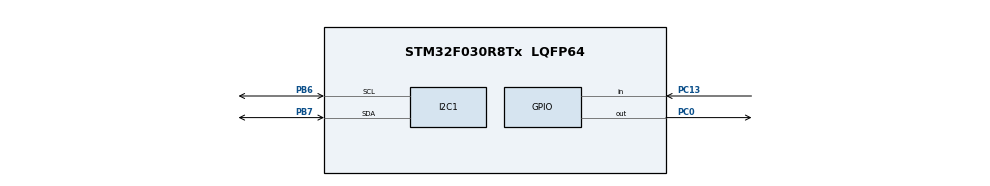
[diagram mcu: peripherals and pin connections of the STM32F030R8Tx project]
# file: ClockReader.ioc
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FREERTOS.Tasks01=defaultTask,24,128,StartDefaultTask,Default,NULL,Dynamic,NULL,NULL
Mcu.Family=STM32F0
Mcu.Name=STM32F030R8Tx
Mcu.Package=LQFP64
NVIC.TIM1_BRK_UP_TRG_COM_IRQn=true\:0\:0\:false\:false\:true\:false\:false\:true
NVIC.TimeBase=TIM1_BRK_UP_TRG_COM_IRQn
NVIC.TimeBaseIP=TIM1
PA13.Mode=Serial_Wire
PA13.Signal=SYS_SWDIO
PA14.Mode=Serial_Wire
PA14.Signal=SYS_SWCLK
PB6.Mode=I2C
PB6.Signal=I2C1_SCL
PB7.Mode=I2C
PB7.Signal=I2C1_SDA
PC0.Signal=GPIO_Output
PC13.Signal=GPIO_Input
ProjectManager.HeapSize=0x200
ProjectManager.StackSize=0x400
ProjectManager.TargetToolchain=STM32CubeIDE
VP_FREERTOS_VS_CMSIS_V2.Mode=CMSIS_V2
VP_SYS_VS_tim1.Mode=TIM1
board=custom

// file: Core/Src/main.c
/* USER CODE BEGIN Header */
/**
  ******************************************************************************
  * @file           : main.c
  * @brief          : Main program body
  ******************************************************************************
  * @attention
  *
  * <h2><center>&copy; Copyright (c) 2021 STMicroelectronics.
  * All rights reserved.</center></h2>
  *
  * This software component is licensed by ST under BSD 3-Clause license,
  * the "License"; You may not use this file except in compliance with the
  * License. You may obtain a copy of the License at:
  *                        opensource.org/licenses/BSD-3-Clause
  *
  ******************************************************************************
  */
/* USER CODE END Header */
#include "main.h"
#include "cmsis_os.h"

/* USER CODE BEGIN Includes */
#include <rtc.h>
#include <fonts.h>
#include <ssd1306.h>
#include "bno055_stm32.h"
/* USER CODE END Includes */

I2C_HandleTypeDef hi2c1;

/* Definitions for defaultTask */
osThreadId_t defaultTaskHandle;
const osThreadAttr_t defaultTask_attributes = {
  .name = "defaultTask",
  .priority = (osPriority_t) osPriorityNormal,
  .stack_size = 128 * 4
};

void SystemClock_Config(void);
static void MX_GPIO_Init(void);
static void MX_I2C1_Init(void);
void StartDefaultTask(void *argument);

/* USER CODE BEGIN 0 */

struct registerData
	{
	  uint8_t registerAddress;
	  uint8_t secondsData;
	  uint8_t *pRegisterAddress;
	};

const uint8_t slaveAddressRTC = 0xDE;

typedef struct registerData registerData;

/* USER CODE END 0 */

int main(void)
{

  /* MCU Configuration--------------------------------------------------------*/

  /* Reset of all peripherals, Initializes the Flash interface and the Systick. */
  HAL_Init();

  /* Configure the system clock */
  SystemClock_Config();

  /* Initialize all configured peripherals */
  MX_GPIO_Init();
  MX_I2C1_Init();
  /* USER CODE BEGIN 2 */

  /*uint8_t startTimer = 0x80;
  uint8_t *pStartTimer;
  pStartTimer = &startTimer;*/

  uint8_t RTCWKDAYReg = 0x03; //Also has the battery control register at bit 3 and PWRFAIL
  uint8_t turnOnExternalBattery = 0x08;//(0x03 will set battery)
  uint8_t *pExtBatt;
  pExtBatt = &turnOnExternalBattery;

  uint8_t secondsData = 0;
  uint8_t secondsReg = 0x00;
  uint8_t *pSeconds;
  pSeconds=&secondsData;

  uint8_t minData = 0x80;
  uint8_t minReg = 0x01;
  uint8_t *pMin;
  pMin=&minData;

  uint8_t hrsData = 0;
  uint8_t hrsReg = 0x02;
  uint8_t *pHrs;
  pHrs=&hrsData;

  uint8_t alarmControlData = 0b00010000;
  uint8_t alarmControlReg = 0x07;
  uint8_t *pAlarmControl;
  pAlarmControl=&alarmControlData;

  uint8_t alarmFlagData = 0b10000000;
  uint8_t alarmFlagReg = 0x0D;
  uint8_t *pAlarmFlag;
  pAlarmFlag=&alarmFlagData;

  uint8_t alarmSecondsData = 0x07;
  uint8_t alarmSecondsReg = 0x0A;
  uint8_t *pAlarmSeconds;
  pAlarmSeconds=&alarmSecondsData;

  uint8_t alarmMinsData = 0;
  uint8_t alarmMinsReg = 0x0B;
  uint8_t *pAlarmMins;
  pAlarmMins=&alarmMinsData;

  uint8_t alarmHrsData = 0;
  uint8_t alarmHrsReg = 0x0C;
  uint8_t *pAlarmHrs;
  pAlarmHrs=&alarmHrsData;

  while(HAL_I2C_Init(&hi2c1)!=HAL_OK)
  {
	if(HAL_I2C_Init(&hi2c1)==HAL_OK) break;
  }

  uint8_t secondsOnes =0;
   uint8_t secondsTens = 0;

   uint8_t minOnes =0;
   uint8_t minTens = 0;

   uint8_t hrsOnes =0;
   uint8_t hrsTens = 0;

  /* USER CODE END 2 */

  /* Init scheduler */
  osKernelInitialize();

  /* Create the thread(s) */
  /* creation of defaultTask */
  defaultTaskHandle = osThreadNew(StartDefaultTask, NULL, &defaultTask_attributes);

  /* Start scheduler */
  osKernelStart();

  /* We should never get here as control is now taken by the scheduler */
  /* Infinite loop */
  /* USER CODE BEGIN WHILE */
  	  HAL_I2C_Mem_Read(&hi2c1,slaveAddressRTC,secondsReg,1,pSeconds,1,50);
  	  secondsData = secondsData | 0x80; //Starts the timer
  	  HAL_I2C_Mem_Write(&hi2c1,slaveAddressRTC,secondsReg,1,pSeconds,1,50);
  	  HAL_I2C_Mem_Read(&hi2c1,slaveAddressRTC,hrsReg,1,pHrs,1,50);
  	  hrsData = hrsData & 0b10111111;
  	  HAL_I2C_Mem_Write(&hi2c1,slaveAddressRTC,hrsReg,1,pHrs,1,50);

  	 HAL_I2C_Mem_Write(&hi2c1,slaveAddressRTC,alarmControlReg,1,pAlarmControl,1,50); //Set Alarm On
  	 HAL_I2C_Mem_Write(&hi2c1,slaveAddressRTC,alarmSecondsReg,1,pAlarmSeconds,1,50); //Set Alarm Timer
  	 HAL_I2C_Mem_Write(&hi2c1,slaveAddressRTC,alarmFlagReg,1,pAlarmFlag,1,50); //Clear Flag and set MFP HIGH when triggered
	  HAL_I2C_Mem_Read(&hi2c1,slaveAddressRTC,alarmSecondsReg,1,&alarmSecondsData,1,50);
 	  HAL_I2C_Mem_Read(&hi2c1,slaveAddressRTC,secondsReg,1,pAlarmSeconds,1,50);
 	  *pAlarmSeconds = (*pAlarmSeconds%60)+10; //Trigger alarm every 10 seconds
	  HAL_I2C_Mem_Write(&hi2c1,slaveAddressRTC,alarmSecondsReg,1,pAlarmSeconds,1,50);

  	  HAL_I2C_Mem_Write(&hi2c1,slaveAddressRTC,RTCWKDAYReg,1,pExtBatt,1,50);
		ssd1306_Init(&hi2c1);
		ssd1306_Fill(0);
		ssd1306_UpdateScreen (&hi2c1);
		char snum[5];

		bno055_assignI2C(&hi2c1);
		bno055_setup();
		bno055_setOperationModeNDOF();

  while (1)
  {
	  bno055_vector_t v = bno055_getVectorEuler();

	  HAL_I2C_Mem_Read(&hi2c1,slaveAddressRTC,alarmFlagReg,1,pAlarmFlag,1,50);

	  HAL_I2C_Mem_Read(&hi2c1,slaveAddressRTC,secondsReg,1,&secondsData,1,50);
	  secondsOnes = secondsData & 0xF;
	  secondsTens = (secondsData>>4) & 0x7;

	  HAL_Delay(100);

	  HAL_I2C_Mem_Read(&hi2c1,slaveAddressRTC,minReg,1,&minData,1,50);
	  minOnes = minData & 0xF;
	  minTens = (minData>>4) & 0x7;

	  HAL_Delay(100);

	  HAL_I2C_Mem_Read(&hi2c1,slaveAddressRTC,hrsReg,1,&hrsData,1,50);
	  hrsOnes = hrsData & 0xF;
	  hrsTens = (hrsData>>4) & 0b11;

	  HAL_Delay(100);

	  itoa( (int) v.x, snum, 10);
	  ssd1306_SetCursor(1, 1);
	  ssd1306_WriteString("Heading :  ", Font_7x10,1);
	  ssd1306_WriteString(snum, Font_7x10,1);
	  ssd1306_SetCursor(1, 15);
	  itoa( (int) v.y, snum, 10);
	  ssd1306_WriteString("Roll :  ", Font_7x10,1);
	  ssd1306_WriteString(snum, Font_7x10,1);
	  ssd1306_SetCursor(1, 30);
	  itoa( (int) v.z, snum, 10);
	  ssd1306_WriteString("Pitch :  ", Font_7x10,1);
	  ssd1306_WriteString(snum, Font_7x10,1);

	  ssd1306_SetCursor(1, 45);

	  //Hours
	  itoa(hrsTens, snum, 10);
	  ssd1306_SetCursor(1, 45);
	  ssd1306_WriteString("Time: ", Font_7x10,1);
	  ssd1306_WriteString(snum, Font_7x10,1);
	  itoa(hrsOnes, snum, 10);
	  ssd1306_WriteString(snum, Font_7x10,1);

	  //Minutes
	  itoa(minTens, snum, 10);
	  ssd1306_WriteString(" : ", Font_7x10,1);
	  ssd1306_WriteString(snum, Font_7x10,1);
	  itoa(minOnes, snum, 10);
	  ssd1306_WriteString(snum, Font_7x10,1);

	  //Seconds
	  itoa(secondsTens, snum, 10);
	  ssd1306_WriteString(" : ", Font_7x10,1);
	  ssd1306_WriteString(snum, Font_7x10,1);
	  itoa(secondsOnes, snum, 10);
	  ssd1306_WriteString(snum, Font_7x10,1);

	  if(HAL_GPIO_ReadPin(GPIOC,GPIO_PIN_13))
	  {
          HAL_GPIO_TogglePin(GPIOC, GPIO_PIN_0);
    	  HAL_Delay(2000);
      	  HAL_I2C_Mem_Read(&hi2c1,slaveAddressRTC,secondsReg,1,pAlarmSeconds,1,50);
      	  *pAlarmSeconds = (*pAlarmSeconds%60)+10; //Trigger alarm every 10 seconds
    	  HAL_I2C_Mem_Write(&hi2c1,slaveAddressRTC,alarmSecondsReg,1,pAlarmSeconds,1,50);
    	  HAL_I2C_Mem_Write(&hi2c1,slaveAddressRTC,alarmFlagReg,1,pAlarmFlag,1,50); //Clear Flag and set MFP HIGH when triggered
          HAL_GPIO_TogglePin(GPIOC, GPIO_PIN_0);
	  }

	  ssd1306_UpdateScreen (&hi2c1);
    /* USER CODE END WHILE */

  }
}

void SystemClock_Config(void)
{
  RCC_OscInitTypeDef RCC_OscInitStruct = {0};
  RCC_ClkInitTypeDef RCC_ClkInitStruct = {0};
  RCC_PeriphCLKInitTypeDef PeriphClkInit = {0};

  /** Initializes the RCC Oscillators according to the specified parameters
  * in the RCC_OscInitTypeDef structure.
  */
  RCC_OscInitStruct.OscillatorType = RCC_OSCILLATORTYPE_HSI;
  RCC_OscInitStruct.HSIState = RCC_HSI_ON;
  RCC_OscInitStruct.HSICalibrationValue = RCC_HSICALIBRATION_DEFAULT;
  RCC_OscInitStruct.PLL.PLLState = RCC_PLL_NONE;
  if (HAL_RCC_OscConfig(&RCC_OscInitStruct) != HAL_OK)
  {
    Error_Handler();
  }
  /** Initializes the CPU, AHB and APB buses clocks
  */
  RCC_ClkInitStruct.ClockType = RCC_CLOCKTYPE_HCLK|RCC_CLOCKTYPE_SYSCLK
                              |RCC_CLOCKTYPE_PCLK1;
  RCC_ClkInitStruct.SYSCLKSource = RCC_SYSCLKSOURCE_HSI;
  RCC_ClkInitStruct.AHBCLKDivider = RCC_SYSCLK_DIV1;
  RCC_ClkInitStruct.APB1CLKDivider = RCC_HCLK_DIV1;

  if (HAL_RCC_ClockConfig(&RCC_ClkInitStruct, FLASH_LATENCY_0) != HAL_OK)
  {
    Error_Handler();
  }
  PeriphClkInit.PeriphClockSelection = RCC_PERIPHCLK_I2C1;
  PeriphClkInit.I2c1ClockSelection = RCC_I2C1CLKSOURCE_HSI;
  if (HAL_RCCEx_PeriphCLKConfig(&PeriphClkInit) != HAL_OK)
  {
    Error_Handler();
  }
}

static void MX_I2C1_Init(void)
{

  hi2c1.Instance = I2C1;
  hi2c1.Init.Timing = 0x2000090E;
  hi2c1.Init.OwnAddress1 = 0;
  hi2c1.Init.AddressingMode = I2C_ADDRESSINGMODE_7BIT;
  hi2c1.Init.DualAddressMode = I2C_DUALADDRESS_DISABLE;
  hi2c1.Init.OwnAddress2 = 0;
  hi2c1.Init.OwnAddress2Masks = I2C_OA2_NOMASK;
  hi2c1.Init.GeneralCallMode = I2C_GENERALCALL_DISABLE;
  hi2c1.Init.NoStretchMode = I2C_NOSTRETCH_DISABLE;
  if (HAL_I2C_Init(&hi2c1) != HAL_OK)
  {
    Error_Handler();
  }
  /** Configure Analogue filter
  */
  if (HAL_I2CEx_ConfigAnalogFilter(&hi2c1, I2C_ANALOGFILTER_ENABLE) != HAL_OK)
  {
    Error_Handler();
  }
  /** Configure Digital filter
  */
  if (HAL_I2CEx_ConfigDigitalFilter(&hi2c1, 0) != HAL_OK)
  {
    Error_Handler();
  }

}

static void MX_GPIO_Init(void)
{
  GPIO_InitTypeDef GPIO_InitStruct = {0};

  /* GPIO Ports Clock Enable */
  __HAL_RCC_GPIOC_CLK_ENABLE();
  __HAL_RCC_GPIOA_CLK_ENABLE();
  __HAL_RCC_GPIOB_CLK_ENABLE();

  /*Configure GPIO pin Output Level */
  HAL_GPIO_WritePin(GPIOC, GPIO_PIN_0, GPIO_PIN_RESET);

  /*Configure GPIO pin : PC13 */
  GPIO_InitStruct.Pin = GPIO_PIN_13;
  GPIO_InitStruct.Mode = GPIO_MODE_INPUT;
  GPIO_InitStruct.Pull = GPIO_NOPULL;
  HAL_GPIO_Init(GPIOC, &GPIO_InitStruct);

  /*Configure GPIO pin : PC0 */
  GPIO_InitStruct.Pin = GPIO_PIN_0;
  GPIO_InitStruct.Mode = GPIO_MODE_OUTPUT_PP;
  GPIO_InitStruct.Pull = GPIO_NOPULL;
  GPIO_InitStruct.Speed = GPIO_SPEED_FREQ_LOW;
  HAL_GPIO_Init(GPIOC, &GPIO_InitStruct);

}

void StartDefaultTask(void *argument)
{
  for(;;)
  {
    osDelay(1);
  }
}

 /**
  * @brief  Period elapsed callback in non blocking mode
  * @note   This function is called  when TIM1 interrupt took place, inside
  * HAL_TIM_IRQHandler(). It makes a direct call to HAL_IncTick() to increment
  * a global variable "uwTick" used as application time base.
  * @param  htim : TIM handle
  * @retval None
  */
void HAL_TIM_PeriodElapsedCallback(TIM_HandleTypeDef *htim)
{
  if (htim->Instance == TIM1) {
    HAL_IncTick();
  }
}

void Error_Handler(void)
{
}

/************************ (C) COPYRIGHT STMicroelectronics *****END OF FILE****/
